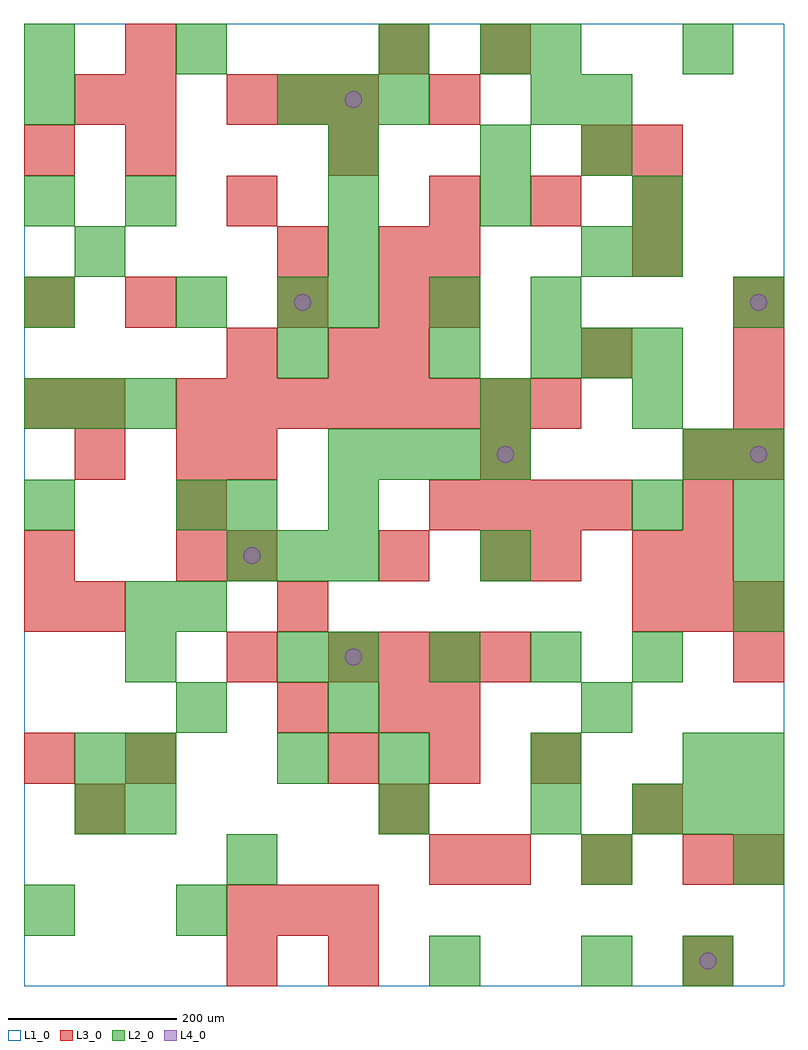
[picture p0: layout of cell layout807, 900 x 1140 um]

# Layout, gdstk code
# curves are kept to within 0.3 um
import gdstk
lib = gdstk.Library(unit=1e-6, precision=1e-09)
def R(c, l, rs):  # rectangles x0, y0, x1, y1
    for r in rs: c.add(gdstk.rectangle(r[:2], r[2:], *l))
def A(c, l, x, y, w, h, nx, ny, dx, dy):  # array of equal rectangles
    R(c, l, [(x+i*dx, y+j*dy, x+i*dx+w, y+j*dy+h) for i in range(nx) for j in range(ny)])
def P(c, l, *ps):  # polygons
    for p in ps: c.add(gdstk.Polygon(p, *l))
L1_0 = (1, 0)
L2_0 = (2, 0)
L3_0 = (3, 0)
L4_0 = (4, 0)

layout807 = lib.new_cell('layout807')
R(layout807, L1_0, [(0,0,900,1140)])
A(layout807, L2_0, 720, 180, 60, 60, 3, 1, 60, 0)
A(layout807, L2_0, 420, 240, 60, 60, 3, 1, 180, 0)
A(layout807, L2_0, 180, 300, 60, 60, 1, 3, 0, 120)
A(layout807, L2_0, 360, 360, 60, 60, 4, 1, 120, 0)
A(layout807, L2_0, 840, 420, 60, 60, 1, 4, 0, 60)
A(layout807, L2_0, 240, 480, 60, 60, 3, 1, 60, 0)
A(layout807, L2_0, 360, 600, 60, 60, 4, 1, 60, 0)
A(layout807, L2_0, 0, 660, 60, 60, 3, 1, 60, 0)
A(layout807, L2_0, 600, 720, 60, 60, 3, 1, 60, 0)
A(layout807, L2_0, 0, 780, 60, 60, 1, 3, 0, 120)
A(layout807, L2_0, 360, 780, 60, 60, 3, 1, 120, 0)
A(layout807, L2_0, 60, 840, 60, 60, 3, 1, 300, 0)
A(layout807, L2_0, 360, 900, 60, 60, 3, 1, 180, 0)
A(layout807, L2_0, 300, 1020, 60, 60, 3, 1, 60, 0)
R(layout807, L2_0, [(480,0,540,60), (660,0,720,60), (780,0,840,60), (0,60,60,120), (180,60,240,120), (240,120,300,180), (660,120,720,180), (840,120,900,180), (60,180,120,240), (120,180,180,240), (420,180,480,240), (600,180,660,240), (60,240,120,300), (120,240,180,300), (300,240,360,300), (840,240,900,300), (360,300,420,360), (660,300,720,360), (120,360,180,420), (300,360,360,420), (120,420,180,480), (540,480,600,540), (0,540,60,600), (240,540,300,600), (360,540,420,600), (720,540,780,600), (780,600,840,660), (540,660,600,720), (720,660,780,720), (300,720,360,780), (480,720,540,780), (180,780,240,840), (300,780,360,840), (840,780,900,840), (720,840,780,900), (120,900,180,960), (360,960,420,1020), (540,960,600,1020), (660,960,720,1020), (600,1020,660,1080), (660,1020,720,1080), (0,1080,60,1140), (180,1080,240,1140), (420,1080,480,1140), (540,1080,600,1140), (600,1080,660,1140), (780,1080,840,1140)])
A(layout807, L3_0, 240, 60, 60, 60, 3, 2, 60, 960)
A(layout807, L3_0, 540, 120, 60, 60, 3, 1, 120, 0)
A(layout807, L3_0, 840, 120, 60, 60, 1, 3, 0, 240)
A(layout807, L3_0, 360, 240, 60, 60, 3, 1, 120, 0)
A(layout807, L3_0, 240, 360, 60, 60, 1, 4, 0, 120)
A(layout807, L3_0, 360, 360, 60, 60, 4, 1, 60, 0)
A(layout807, L3_0, 720, 420, 60, 60, 3, 1, 60, 0)
A(layout807, L3_0, 180, 480, 60, 60, 1, 3, 0, 60)
A(layout807, L3_0, 780, 480, 60, 60, 1, 3, 0, 60)
A(layout807, L3_0, 480, 540, 60, 60, 4, 1, 60, 0)
A(layout807, L3_0, 180, 660, 60, 60, 8, 1, 60, 0)
A(layout807, L3_0, 840, 660, 60, 60, 1, 3, 0, 60)
A(layout807, L3_0, 420, 720, 60, 60, 1, 3, 0, 60)
A(layout807, L3_0, 480, 900, 60, 60, 3, 1, 120, 0)
A(layout807, L3_0, 120, 960, 60, 60, 1, 3, 0, 60)
R(layout807, L3_0, [(240,0,300,60), (360,0,420,60), (780,0,840,60), (480,120,540,180), (60,180,120,240), (420,180,480,240), (720,180,780,240), (0,240,60,300), (120,240,180,300), (300,300,360,360), (420,300,480,360), (480,300,540,360), (0,420,60,480), (60,420,120,480), (300,420,360,480), (0,480,60,540), (420,480,480,540), (540,480,600,540), (600,480,660,540), (720,480,780,540), (60,600,120,660), (540,600,600,660), (0,660,60,720), (60,660,120,720), (360,720,420,780), (660,720,720,780), (0,780,60,840), (120,780,180,840), (300,780,360,840), (480,780,540,840), (300,840,360,900), (480,840,540,900), (720,840,780,900), (240,900,300,960), (0,960,60,1020), (360,960,420,1020), (660,960,720,1020), (720,960,780,1020), (60,1020,120,1080), (480,1020,540,1080), (420,1080,480,1140), (540,1080,600,1140)])
P(layout807, L4_0, [(280,510),(279.239,513.827),(277.071,517.071),(273.827,519.239),(270,520),(266.173,519.239),(262.929,517.071),(260.761,513.827),(260,510),(260.761,506.173),(262.929,502.929),(266.173,500.761),(270,500),(273.827,500.761),(277.071,502.929),(279.239,506.173)],
  [(340,810),(339.239,813.827),(337.071,817.071),(333.827,819.239),(330,820),(326.173,819.239),(322.929,817.071),(320.761,813.827),(320,810),(320.761,806.173),(322.929,802.929),(326.173,800.761),(330,800),(333.827,800.761),(337.071,802.929),(339.239,806.173)],
  [(400,390),(399.239,393.827),(397.071,397.071),(393.827,399.239),(390,400),(386.173,399.239),(382.929,397.071),(380.761,393.827),(380,390),(380.761,386.173),(382.929,382.929),(386.173,380.761),(390,380),(393.827,380.761),(397.071,382.929),(399.239,386.173)],
  [(400,1050),(399.239,1053.827),(397.071,1057.071),(393.827,1059.239),(390,1060),(386.173,1059.239),(382.929,1057.071),(380.761,1053.827),(380,1050),(380.761,1046.173),(382.929,1042.929),(386.173,1040.761),(390,1040),(393.827,1040.761),(397.071,1042.929),(399.239,1046.173)],
  [(580,630),(579.239,633.827),(577.071,637.071),(573.827,639.239),(570,640),(566.173,639.239),(562.929,637.071),(560.761,633.827),(560,630),(560.761,626.173),(562.929,622.929),(566.173,620.761),(570,620),(573.827,620.761),(577.071,622.929),(579.239,626.173)],
  [(820,30),(819.239,33.827),(817.071,37.071),(813.827,39.239),(810,40),(806.173,39.239),(802.929,37.071),(800.761,33.827),(800,30),(800.761,26.173),(802.929,22.929),(806.173,20.761),(810,20),(813.827,20.761),(817.071,22.929),(819.239,26.173)],
  [(880,630),(879.239,633.827),(877.071,637.071),(873.827,639.239),(870,640),(866.173,639.239),(862.929,637.071),(860.761,633.827),(860,630),(860.761,626.173),(862.929,622.929),(866.173,620.761),(870,620),(873.827,620.761),(877.071,622.929),(879.239,626.173)],
  [(880,810),(879.239,813.827),(877.071,817.071),(873.827,819.239),(870,820),(866.173,819.239),(862.929,817.071),(860.761,813.827),(860,810),(860.761,806.173),(862.929,802.929),(866.173,800.761),(870,800),(873.827,800.761),(877.071,802.929),(879.239,806.173)])

lib.write_gds('layout807.gds')
